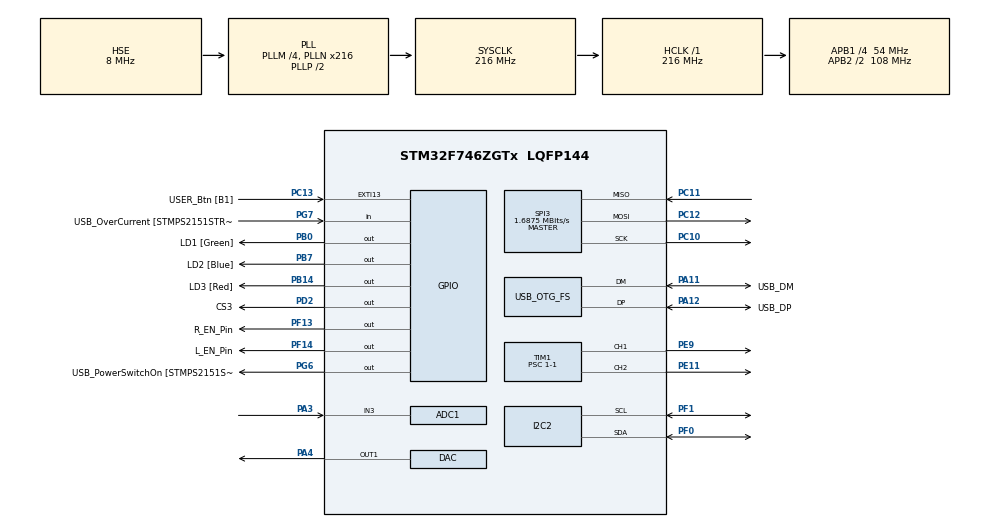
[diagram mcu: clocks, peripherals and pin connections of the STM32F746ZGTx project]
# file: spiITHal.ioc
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ADC1.Channel-0\#ChannelRegularConversion=ADC_CHANNEL_3
ADC1.ContinuousConvMode=ENABLE
ADC1.DMAContinuousRequests=ENABLE
ADC1.NbrOfConversionFlag=1
ADC1.Rank-0\#ChannelRegularConversion=1
ADC1.SamplingTime-0\#ChannelRegularConversion=ADC_SAMPLETIME_3CYCLES
ADC1.master=1
Dma.ADC1.0.Direction=DMA_PERIPH_TO_MEMORY
Dma.ADC1.0.FIFOMode=DMA_FIFOMODE_DISABLE
Dma.ADC1.0.Instance=DMA2_Stream0
Dma.ADC1.0.MemDataAlignment=DMA_MDATAALIGN_HALFWORD
Dma.ADC1.0.MemInc=DMA_MINC_ENABLE
Dma.ADC1.0.Mode=DMA_NORMAL
Dma.ADC1.0.PeriphDataAlignment=DMA_PDATAALIGN_HALFWORD
Dma.ADC1.0.PeriphInc=DMA_PINC_DISABLE
Dma.ADC1.0.Priority=DMA_PRIORITY_LOW
Dma.Request0=ADC1
Dma.Request1=SPI3_RX
Dma.Request2=SPI3_TX
Dma.SPI3_RX.1.Direction=DMA_PERIPH_TO_MEMORY
Dma.SPI3_RX.1.FIFOMode=DMA_FIFOMODE_DISABLE
Dma.SPI3_RX.1.Instance=DMA1_Stream0
Dma.SPI3_RX.1.MemDataAlignment=DMA_MDATAALIGN_HALFWORD
Dma.SPI3_RX.1.MemInc=DMA_MINC_ENABLE
Dma.SPI3_RX.1.Mode=DMA_NORMAL
Dma.SPI3_RX.1.PeriphDataAlignment=DMA_PDATAALIGN_HALFWORD
Dma.SPI3_RX.1.PeriphInc=DMA_PINC_DISABLE
Dma.SPI3_RX.1.Priority=DMA_PRIORITY_LOW
Dma.SPI3_TX.2.Direction=DMA_MEMORY_TO_PERIPH
Dma.SPI3_TX.2.FIFOMode=DMA_FIFOMODE_DISABLE
Dma.SPI3_TX.2.Instance=DMA1_Stream5
Dma.SPI3_TX.2.MemDataAlignment=DMA_MDATAALIGN_HALFWORD
Dma.SPI3_TX.2.MemInc=DMA_MINC_ENABLE
Dma.SPI3_TX.2.Mode=DMA_NORMAL
Dma.SPI3_TX.2.PeriphDataAlignment=DMA_PDATAALIGN_HALFWORD
Dma.SPI3_TX.2.PeriphInc=DMA_PINC_DISABLE
Dma.SPI3_TX.2.Priority=DMA_PRIORITY_LOW
I2C2.Timing=0x20404768
Mcu.Family=STM32F7
Mcu.Name=STM32F746ZGTx
Mcu.Package=LQFP144
NVIC.DMA1_Stream0_IRQn=true\:0\:0\:false\:false\:true\:false\:true\:true
NVIC.DMA1_Stream5_IRQn=true\:0\:0\:false\:false\:true\:false\:true\:true
NVIC.DMA2_Stream0_IRQn=true\:0\:0\:false\:false\:true\:false\:true\:true
NVIC.I2C2_EV_IRQn=true\:15\:0\:true\:false\:true\:true\:true\:true
NVIC.OTG_FS_IRQn=true\:0\:0\:false\:false\:true\:false\:true\:true
NVIC.PriorityGroup=NVIC_PRIORITYGROUP_4
NVIC.TIM3_IRQn=true\:3\:0\:true\:false\:true\:true\:true\:true
NVIC.TIM4_IRQn=true\:0\:0\:false\:false\:true\:true\:true\:true
PA1.GPIO_Label=RMII_REF_CLK [LAN8742A-CZ-TR_REFCLK0]
PA1.Signal=ETH_REF_CLK
PA10.GPIO_Label=USB_ID
PA10.Signal=USB_OTG_FS_ID
PA11.GPIO_Label=USB_DM
PA11.Mode=Device_Only
PA11.Signal=USB_OTG_FS_DM
PA12.GPIO_Label=USB_DP
PA12.Mode=Device_Only
PA12.Signal=USB_OTG_FS_DP
PA13.GPIO_Label=TMS
PA13.Mode=Serial_Wire
PA13.Signal=SYS_JTMS-SWDIO
PA14.GPIO_Label=TCK
PA14.Mode=Serial_Wire
PA14.Signal=SYS_JTCK-SWCLK
PA2.GPIO_Label=RMII_MDIO [LAN8742A-CZ-TR_MDIO]
PA2.Signal=ETH_MDIO
PA3.Signal=ADCx_IN3
PA4.Signal=COMP_DAC1_group
PA7.GPIO_Label=RMII_CRS_DV [LAN8742A-CZ-TR_CRS_DV]
PA7.Signal=ETH_CRS_DV
PA8.GPIO_Label=USB_SOF [TP1]
PA8.Signal=USB_OTG_FS_SOF
PA9.GPIO_Label=USB_VBUS
PA9.Signal=USB_OTG_FS_VBUS
PB0.GPIO_Label=LD1 [Green]
PB0.Signal=GPIO_Output
PB13.GPIO_Label=RMII_TXD1 [LAN8742A-CZ-TR_TXD1]
PB13.Signal=ETH_TXD1
PB14.GPIO_Label=LD3 [Red]
PB14.Signal=GPIO_Output
PB3.GPIO_Label=SW0
PB3.Signal=SYS_JTDO-SWO
PB7.GPIO_Label=LD2 [Blue]
PB7.Signal=GPIO_Output
PB8.Signal=I2C1_SCL
PC1.GPIO_Label=RMII_MDC [LAN8742A-CZ-TR_MDC]
PC1.Signal=ETH_MDC
PC10.Mode=Full_Duplex_Master
PC10.Signal=SPI3_SCK
PC11.Mode=Full_Duplex_Master
PC11.Signal=SPI3_MISO
PC12.Mode=Full_Duplex_Master
PC12.Signal=SPI3_MOSI
PC13.GPIO_Label=USER_Btn [B1]
PC13.Signal=GPXTI13
PC14/OSC32_IN.Mode=LSE-External-Oscillator
PC14/OSC32_IN.Signal=RCC_OSC32_IN
PC15/OSC32_OUT.Mode=LSE-External-Oscillator
PC15/OSC32_OUT.Signal=RCC_OSC32_OUT
PC4.GPIO_Label=RMII_RXD0 [LAN8742A-CZ-TR_RXD0]
PC4.Signal=ETH_RXD0
PC5.GPIO_Label=RMII_RXD1 [LAN8742A-CZ-TR_RXD1]
PC5.Signal=ETH_RXD1
PD2.GPIO_Label=CS3
PD2.Signal=GPIO_Output
PD8.GPIO_Label=STLK_RX [STM32F103CBT6_PA3]
PD8.GPIO_PuPd=GPIO_PULLUP
PD8.Signal=USART3_TX
PD9.GPIO_Label=STLK_TX [STM32F103CBT6_PA2]
PD9.GPIO_PuPd=GPIO_PULLUP
PD9.Signal=USART3_RX
PE11.Signal=S_TIM1_CH2
PE9.Signal=S_TIM1_CH1
PF0.Mode=I2C
PF0.Signal=I2C2_SDA
PF1.Mode=I2C
PF1.Signal=I2C2_SCL
PF13.GPIO_Label=R_EN_Pin
PF13.Signal=GPIO_Output
PF14.GPIO_Label=L_EN_Pin
PF14.Signal=GPIO_Output
PG11.GPIO_Label=RMII_TX_EN [LAN8742A-CZ-TR_TXEN]
PG11.Signal=ETH_TX_EN
PG13.GPIO_Label=RMII_TXD0 [LAN8742A-CZ-TR_TXD0]
PG13.Signal=ETH_TXD0
PG6.GPIO_Label=USB_PowerSwitchOn [STMPS2151STR_EN]
PG6.Signal=GPIO_Output
PG7.GPIO_Label=USB_OverCurrent [STMPS2151STR_FAULT]
PG7.Signal=GPIO_Input
PH0/OSC_IN.GPIO_Label=MCO [STM32F103CBT6_PA8]
PH0/OSC_IN.Mode=HSE-External-Oscillator
PH0/OSC_IN.Signal=RCC_OSC_IN
PH1/OSC_OUT.Mode=HSE-External-Oscillator
PH1/OSC_OUT.Signal=RCC_OSC_OUT
ProjectManager.HeapSize=0x200
ProjectManager.StackSize=0x400
ProjectManager.TargetToolchain=STM32CubeIDE
RCC.48MHZClocksFreq_Value=24000000
RCC.AHBFreq_Value=216000000
RCC.APB1CLKDivider=RCC_HCLK_DIV4
RCC.APB1Freq_Value=54000000
RCC.APB1TimFreq_Value=108000000
RCC.APB2CLKDivider=RCC_HCLK_DIV2
RCC.APB2Freq_Value=108000000
RCC.APB2TimFreq_Value=216000000
RCC.CortexFreq_Value=216000000
RCC.HCLKFreq_Value=216000000
RCC.HSE_VALUE=8000000
RCC.HSI_VALUE=16000000
RCC.PLLM=4
RCC.PLLMUL=RCC_PLL_MUL9
RCC.PLLN=216
RCC.PLLQ=9
RCC.PRESCALERUSB=RCC_USBCLKSOURCE_PLL_DIV1_5
RCC.SYSCLKFreq_VALUE=216000000
RCC.SYSCLKSource=RCC_SYSCLKSOURCE_PLLCLK
RCC.SYSCLKSourceVirtual=RCC_SYSCLKSOURCE_PLLCLK
RCC.USBFreq_Value=48000000
RCC.VCOOutputFreq_Value=432000000
SH.ADCx_IN3.0=ADC1_IN3,IN3
SH.COMP_DAC1_group.0=DAC_OUT1,DAC_OUT1
SH.S_TIM1_CH1.0=TIM1_CH1,PWM Generation1 CH1
SH.S_TIM1_CH2.0=TIM1_CH2,PWM Generation2 CH2
SPI3.BaudRatePrescaler=SPI_BAUDRATEPRESCALER_32
SPI3.CLKPhase=SPI_PHASE_2EDGE
SPI3.CalculateBaudRate=1.6875 MBits/s
SPI3.DataSize=SPI_DATASIZE_16BIT
SPI3.Direction=SPI_DIRECTION_2LINES
SPI3.Mode=SPI_MODE_MASTER
SPI3.VirtualType=VM_MASTER
TIM1.Channel-PWM\ Generation1\ CH1=TIM_CHANNEL_1
TIM1.Channel-PWM\ Generation2\ CH2=TIM_CHANNEL_2
TIM1.Period=8640-1
TIM1.Prescaler=1-1
TIM3.AutoReloadPreload=TIM_AUTORELOAD_PRELOAD_ENABLE
TIM3.Period=1000
TIM3.Prescaler=108-1
TIM4.AutoReloadPreload=TIM_AUTORELOAD_PRELOAD_ENABLE
TIM4.Channel-Output\ Compare1\ No\ Output=TIM_CHANNEL_1
TIM4.Prescaler=20-1
USB_DEVICE.CLASS_NAME_FS=CDC
USB_DEVICE.VirtualMode-CDC_FS=Cdc
USB_DEVICE.VirtualModeFS=Cdc_FS
USB_OTG_FS.VirtualMode=Device_Only
VP_TIM1_VS_ClockSourceINT.Mode=Internal
VP_TIM3_VS_ClockSourceINT.Mode=Internal
VP_TIM4_VS_ClockSourceINT.Mode=Internal
VP_TIM4_VS_no_output1.Mode=Output Compare1 No Output
VP_USB_DEVICE_VS_USB_DEVICE_CDC_FS.Mode=CDC_FS
board=NUCLEO-F746ZG

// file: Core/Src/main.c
/* USER CODE BEGIN Header */
/**
  ******************************************************************************
  * @file           : main.c
  * @brief          : Main program body
  ******************************************************************************
  * @attention
  *
  * Copyright (c) 2023 STMicroelectronics.
  * All rights reserved.
  *
  * This software is licensed under terms that can be found in the LICENSE file
  * in the root directory of this software component.
  * If no LICENSE file comes with this software, it is provided AS-IS.
  *
  ******************************************************************************
  */
/* USER CODE END Header */
#include "main.h"
#include "usb_device.h"

/* USER CODE BEGIN Includes */
#include "usbd_cdc_if.h"
/* USER CODE END Includes */

/* USER CODE BEGIN PM */
#define INA219_ADDRESS 0x40
#define INA219_I2C &hi2c2 //current measurement sensor
#define AS5047D_SPI &hspi3 //magnetic encoder
#define BTS7960_PWMTIM &htim1
#define USB_1KHZTIM &htim3
#define USB_TX_ITEM_CNT 3
#define USB_TX_DATA_CNT 4*USB_TX_ITEM_CNT+2
#define USB_RX_ITEM_CNT 1//Daha sonra usbd_cdc_if kismina atilabilir
#define USB_RX_DATA_CNT 4*USB_RX_ITEM_CNT+2
#define IIR_Filter_Alpha 0.9881f // iirFilter
#define filterTimer &htim4
/* USER CODE END PM */

ADC_HandleTypeDef hadc1;
DMA_HandleTypeDef hdma_adc1;

DAC_HandleTypeDef hdac;

I2C_HandleTypeDef hi2c2;

SPI_HandleTypeDef hspi3;
DMA_HandleTypeDef hdma_spi3_rx;
DMA_HandleTypeDef hdma_spi3_tx;

TIM_HandleTypeDef htim1;
TIM_HandleTypeDef htim3;
TIM_HandleTypeDef htim4;

/* USER CODE BEGIN PV */
//USB//////////////////////////////////////////////////////////////7
extern uint8_t USB_RX_Buf[4*USB_RX_ITEM_CNT + 2];
uint8_t USB_TX_Buf[4*USB_TX_ITEM_CNT+2];

typedef union{
	float fltnum;
	uint8_t fbyte[4];
}NUMUNION_t;

NUMUNION_t desiredV;
/////////////////////////////////////////////////////////////////////
//iirFilter
typedef struct
{
	float alpha;

	float out;

	float in;

} FirstOrderIIR;

FirstOrderIIR hpassfilt;
NUMUNION_t speedViaFilter;
//////////////////////////

//SPI//////////////////////////////////////////////////////////
uint16_t tDataSpi = 0xFFFF;
uint16_t rDataSpi;
uint16_t rDataFiltered;
uint16_t encPosBitPrev;
int32_t motorLoopCount = 0;

NUMUNION_t posRad;
//////////////////////////////////////////////////////////////
//MOTOR////////////////////////////////////////////////
uint16_t motor_pwm1 = 0;
uint16_t motor_pwm2 = 0;
//////////////////////////////////////////////////////
//I2C////////////////////////////////////////
NUMUNION_t I;

uint8_t iic_r[2];
uint8_t Current[2];
uint16_t iic_value;
uint16_t currentValue;
uint8_t isI2Con;
double Vbus = 12.0;// Ileride devre uzerinden olculecek.// nami diger bara voltaji//
uint8_t INA219_CONFIG[2] = {0x19,0x9f};
uint8_t INA219_CALIB[2] = {0x10,0x62};
////////////////////////////////////////////

//uint32_t adcValue;
//uint32_t dacValue;

/* USER CODE END PV */

void SystemClock_Config(void);
static void MX_GPIO_Init(void);
static void MX_DMA_Init(void);
static void MX_TIM3_Init(void);
static void MX_ADC1_Init(void);
static void MX_TIM1_Init(void);
static void MX_SPI3_Init(void);
static void MX_DAC_Init(void);
static void MX_I2C2_Init(void);
static void MX_TIM4_Init(void);
/* USER CODE BEGIN PFP */
void FirstOrderIIR_Init(FirstOrderIIR *filt, float alpha);//iirFilter
float FirstOrderIIR_Update(FirstOrderIIR *filt, float in);
void motor_control(float voltage);//motor
float bit14ToRad(uint16_t bit14);//spi
float bit14ToDeg(uint16_t bit14);
void USER_USB_TRANSMIT_2ITEM(uint8_t* TX_Buf, uint8_t* ITEM1, uint8_t* ITEM2);//usb
void USER_USB_TRANSMIT_3ITEM(uint8_t* TX_Buf, uint8_t* ITEM1, uint8_t* ITEM2, uint8_t* ITEM3);
void USER_USB_RECEIVE_1ITEM(uint8_t* RX_Buf, uint8_t* ITEM1);
void USER_CURRENTSensI2C_SETUP();
/* USER CODE END PFP */

int main(void)
{
  /* USER CODE BEGIN 1 */
	HAL_GPIO_WritePin(CS3_GPIO_Port, CS3_Pin, SET);
  /* USER CODE END 1 */

  /* MCU Configuration--------------------------------------------------------*/

  /* Reset of all peripherals, Initializes the Flash interface and the Systick. */
  HAL_Init();

  /* Configure the system clock */
  SystemClock_Config();

  /* Initialize all configured peripherals */
  MX_GPIO_Init();
  MX_DMA_Init();
  MX_USB_DEVICE_Init();
  MX_TIM3_Init();
  MX_ADC1_Init();
  MX_TIM1_Init();
  MX_SPI3_Init();
  MX_DAC_Init();
  MX_I2C2_Init();
  MX_TIM4_Init();
  /* USER CODE BEGIN 2 */
  HAL_GPIO_WritePin(CS3_GPIO_Port, CS3_Pin, RESET);
//  HAL_SPI_TransmitReceive_IT(&hspi3, (uint8_t*)&tDataSpi, (uint8_t*)&rDataSpi, 1);
  HAL_SPI_TransmitReceive_DMA(AS5047D_SPI, (uint8_t*)&tDataSpi, (uint8_t*)&rDataSpi, 1);

  HAL_GPIO_WritePin(R_EN_Pin_GPIO_Port, R_EN_Pin_Pin, SET);//MOTOR SURUCU ENA Pinleri
  HAL_GPIO_WritePin(L_EN_Pin_GPIO_Port, L_EN_Pin_Pin, SET);

  HAL_TIM_PWM_Start(BTS7960_PWMTIM, TIM_CHANNEL_1);
  HAL_TIM_PWM_Start(BTS7960_PWMTIM, TIM_CHANNEL_2);

  HAL_TIM_Base_Start_IT(USB_1KHZTIM);
//  HAL_DAC_Start(&hdac, DAC_CHANNEL_1);

//  isI2Con = HAL_I2C_IsDeviceReady(&hi2c2, INA219_ADDRESS << 1, 10, 50);
  HAL_I2C_Mem_Write(INA219_I2C, (INA219_ADDRESS << 1), 0x00, 1, INA219_CONFIG, 2, 1000);
  HAL_I2C_Mem_Write(INA219_I2C, (INA219_ADDRESS << 1), 0x05, 1, INA219_CALIB, 2, 1000);
//  HAL_I2C_Mem_Read_DMA(&hi2c2, INA219_ADDRESS << 1, 0x04, 1, Current, 2);
  HAL_I2C_Mem_Read_IT(INA219_I2C, INA219_ADDRESS << 1, 0x04, 1, Current, 2);

  FirstOrderIIR_Init(&hpassfilt, IIR_Filter_Alpha);
  HAL_TIM_Base_Start_IT(filterTimer);
  /* USER CODE END 2 */

  /* Infinite loop */
  /* USER CODE BEGIN WHILE */
  while (1)
  {

//	  HAL_I2C_Mem_Read(&hi2c2, (INA219_ADDRESS<<1), 0x04, 1, iic_r, 2, 1000);

//	  HAL_I2C_Master_Receive(&hi2c2, INA219_ADDRESS << 1, (uint8_t*)&iic_r, 1, 100);

	  //HAL_ADC_Start_DMA(&hadc1, &adcValue, 1);// 	Bu akim okuma su an kullanilmiyor ama neden olmasın

    /* USER CODE END WHILE */

  }
}

void SystemClock_Config(void)
{
  RCC_OscInitTypeDef RCC_OscInitStruct = {0};
  RCC_ClkInitTypeDef RCC_ClkInitStruct = {0};

  /** Configure LSE Drive Capability
  */
  HAL_PWR_EnableBkUpAccess();

  /** Configure the main internal regulator output voltage
  */
  __HAL_RCC_PWR_CLK_ENABLE();
  __HAL_PWR_VOLTAGESCALING_CONFIG(PWR_REGULATOR_VOLTAGE_SCALE1);

  /** Initializes the RCC Oscillators according to the specified parameters
  * in the RCC_OscInitTypeDef structure.
  */
  RCC_OscInitStruct.OscillatorType = RCC_OSCILLATORTYPE_HSE;
  RCC_OscInitStruct.HSEState = RCC_HSE_ON;
  RCC_OscInitStruct.PLL.PLLState = RCC_PLL_ON;
  RCC_OscInitStruct.PLL.PLLSource = RCC_PLLSOURCE_HSE;
  RCC_OscInitStruct.PLL.PLLM = 4;
  RCC_OscInitStruct.PLL.PLLN = 216;
  RCC_OscInitStruct.PLL.PLLP = RCC_PLLP_DIV2;
  RCC_OscInitStruct.PLL.PLLQ = 9;
  if (HAL_RCC_OscConfig(&RCC_OscInitStruct) != HAL_OK)
  {
    Error_Handler();
  }

  /** Activate the Over-Drive mode
  */
  if (HAL_PWREx_EnableOverDrive() != HAL_OK)
  {
    Error_Handler();
  }

  /** Initializes the CPU, AHB and APB buses clocks
  */
  RCC_ClkInitStruct.ClockType = RCC_CLOCKTYPE_HCLK|RCC_CLOCKTYPE_SYSCLK
                              |RCC_CLOCKTYPE_PCLK1|RCC_CLOCKTYPE_PCLK2;
  RCC_ClkInitStruct.SYSCLKSource = RCC_SYSCLKSOURCE_PLLCLK;
  RCC_ClkInitStruct.AHBCLKDivider = RCC_SYSCLK_DIV1;
  RCC_ClkInitStruct.APB1CLKDivider = RCC_HCLK_DIV4;
  RCC_ClkInitStruct.APB2CLKDivider = RCC_HCLK_DIV2;

  if (HAL_RCC_ClockConfig(&RCC_ClkInitStruct, FLASH_LATENCY_7) != HAL_OK)
  {
    Error_Handler();
  }
}

static void MX_ADC1_Init(void)
{

  ADC_ChannelConfTypeDef sConfig = {0};

  /** Configure the global features of the ADC (Clock, Resolution, Data Alignment and number of conversion)
  */
  hadc1.Instance = ADC1;
  hadc1.Init.ClockPrescaler = ADC_CLOCK_SYNC_PCLK_DIV4;
  hadc1.Init.Resolution = ADC_RESOLUTION_12B;
  hadc1.Init.ScanConvMode = ADC_SCAN_DISABLE;
  hadc1.Init.ContinuousConvMode = ENABLE;
  hadc1.Init.DiscontinuousConvMode = DISABLE;
  hadc1.Init.ExternalTrigConvEdge = ADC_EXTERNALTRIGCONVEDGE_NONE;
  hadc1.Init.ExternalTrigConv = ADC_SOFTWARE_START;
  hadc1.Init.DataAlign = ADC_DATAALIGN_RIGHT;
  hadc1.Init.NbrOfConversion = 1;
  hadc1.Init.DMAContinuousRequests = ENABLE;
  hadc1.Init.EOCSelection = ADC_EOC_SINGLE_CONV;
  if (HAL_ADC_Init(&hadc1) != HAL_OK)
  {
    Error_Handler();
  }

  /** Configure for the selected ADC regular channel its corresponding rank in the sequencer and its sample time.
  */
  sConfig.Channel = ADC_CHANNEL_3;
  sConfig.Rank = ADC_REGULAR_RANK_1;
  sConfig.SamplingTime = ADC_SAMPLETIME_3CYCLES;
  if (HAL_ADC_ConfigChannel(&hadc1, &sConfig) != HAL_OK)
  {
    Error_Handler();
  }

}

static void MX_DAC_Init(void)
{

  DAC_ChannelConfTypeDef sConfig = {0};

  /** DAC Initialization
  */
  hdac.Instance = DAC;
  if (HAL_DAC_Init(&hdac) != HAL_OK)
  {
    Error_Handler();
  }

  /** DAC channel OUT1 config
  */
  sConfig.DAC_Trigger = DAC_TRIGGER_NONE;
  sConfig.DAC_OutputBuffer = DAC_OUTPUTBUFFER_ENABLE;
  if (HAL_DAC_ConfigChannel(&hdac, &sConfig, DAC_CHANNEL_1) != HAL_OK)
  {
    Error_Handler();
  }

}

static void MX_I2C2_Init(void)
{

  hi2c2.Instance = I2C2;
  hi2c2.Init.Timing = 0x20404768;
  hi2c2.Init.OwnAddress1 = 0;
  hi2c2.Init.AddressingMode = I2C_ADDRESSINGMODE_7BIT;
  hi2c2.Init.DualAddressMode = I2C_DUALADDRESS_DISABLE;
  hi2c2.Init.OwnAddress2 = 0;
  hi2c2.Init.OwnAddress2Masks = I2C_OA2_NOMASK;
  hi2c2.Init.GeneralCallMode = I2C_GENERALCALL_DISABLE;
  hi2c2.Init.NoStretchMode = I2C_NOSTRETCH_DISABLE;
  if (HAL_I2C_Init(&hi2c2) != HAL_OK)
  {
    Error_Handler();
  }

  /** Configure Analogue filter
  */
  if (HAL_I2CEx_ConfigAnalogFilter(&hi2c2, I2C_ANALOGFILTER_ENABLE) != HAL_OK)
  {
    Error_Handler();
  }

  /** Configure Digital filter
  */
  if (HAL_I2CEx_ConfigDigitalFilter(&hi2c2, 0) != HAL_OK)
  {
    Error_Handler();
  }

}

static void MX_SPI3_Init(void)
{

  /* SPI3 parameter configuration*/
  hspi3.Instance = SPI3;
  hspi3.Init.Mode = SPI_MODE_MASTER;
  hspi3.Init.Direction = SPI_DIRECTION_2LINES;
  hspi3.Init.DataSize = SPI_DATASIZE_16BIT;
  hspi3.Init.CLKPolarity = SPI_POLARITY_LOW;
  hspi3.Init.CLKPhase = SPI_PHASE_2EDGE;
  hspi3.Init.NSS = SPI_NSS_SOFT;
  hspi3.Init.BaudRatePrescaler = SPI_BAUDRATEPRESCALER_32;
  hspi3.Init.FirstBit = SPI_FIRSTBIT_MSB;
  hspi3.Init.TIMode = SPI_TIMODE_DISABLE;
  hspi3.Init.CRCCalculation = SPI_CRCCALCULATION_DISABLE;
  hspi3.Init.CRCPolynomial = 7;
  hspi3.Init.CRCLength = SPI_CRC_LENGTH_DATASIZE;
  hspi3.Init.NSSPMode = SPI_NSS_PULSE_DISABLE;
  if (HAL_SPI_Init(&hspi3) != HAL_OK)
  {
    Error_Handler();
  }

}

static void MX_TIM1_Init(void)
{

  TIM_ClockConfigTypeDef sClockSourceConfig = {0};
  TIM_MasterConfigTypeDef sMasterConfig = {0};
  TIM_OC_InitTypeDef sConfigOC = {0};
  TIM_BreakDeadTimeConfigTypeDef sBreakDeadTimeConfig = {0};

  htim1.Instance = TIM1;
  htim1.Init.Prescaler = 1-1;
  htim1.Init.CounterMode = TIM_COUNTERMODE_UP;
  htim1.Init.Period = 8640-1;
  htim1.Init.ClockDivision = TIM_CLOCKDIVISION_DIV1;
  htim1.Init.RepetitionCounter = 0;
  htim1.Init.AutoReloadPreload = TIM_AUTORELOAD_PRELOAD_DISABLE;
  if (HAL_TIM_Base_Init(&htim1) != HAL_OK)
  {
    Error_Handler();
  }
  sClockSourceConfig.ClockSource = TIM_CLOCKSOURCE_INTERNAL;
  if (HAL_TIM_ConfigClockSource(&htim1, &sClockSourceConfig) != HAL_OK)
  {
    Error_Handler();
  }
  if (HAL_TIM_PWM_Init(&htim1) != HAL_OK)
  {
    Error_Handler();
  }
  sMasterConfig.MasterOutputTrigger = TIM_TRGO_RESET;
  sMasterConfig.MasterOutputTrigger2 = TIM_TRGO2_RESET;
  sMasterConfig.MasterSlaveMode = TIM_MASTERSLAVEMODE_DISABLE;
  if (HAL_TIMEx_MasterConfigSynchronization(&htim1, &sMasterConfig) != HAL_OK)
  {
    Error_Handler();
  }
  sConfigOC.OCMode = TIM_OCMODE_PWM1;
  sConfigOC.Pulse = 0;
  sConfigOC.OCPolarity = TIM_OCPOLARITY_HIGH;
  sConfigOC.OCNPolarity = TIM_OCNPOLARITY_HIGH;
  sConfigOC.OCFastMode = TIM_OCFAST_DISABLE;
  sConfigOC.OCIdleState = TIM_OCIDLESTATE_RESET;
  sConfigOC.OCNIdleState = TIM_OCNIDLESTATE_RESET;
  if (HAL_TIM_PWM_ConfigChannel(&htim1, &sConfigOC, TIM_CHANNEL_1) != HAL_OK)
  {
    Error_Handler();
  }
  if (HAL_TIM_PWM_ConfigChannel(&htim1, &sConfigOC, TIM_CHANNEL_2) != HAL_OK)
  {
    Error_Handler();
  }
  sBreakDeadTimeConfig.OffStateRunMode = TIM_OSSR_DISABLE;
  sBreakDeadTimeConfig.OffStateIDLEMode = TIM_OSSI_DISABLE;
  sBreakDeadTimeConfig.LockLevel = TIM_LOCKLEVEL_OFF;
  sBreakDeadTimeConfig.DeadTime = 0;
  sBreakDeadTimeConfig.BreakState = TIM_BREAK_DISABLE;
  sBreakDeadTimeConfig.BreakPolarity = TIM_BREAKPOLARITY_HIGH;
  sBreakDeadTimeConfig.BreakFilter = 0;
  sBreakDeadTimeConfig.Break2State = TIM_BREAK2_DISABLE;
  sBreakDeadTimeConfig.Break2Polarity = TIM_BREAK2POLARITY_HIGH;
  sBreakDeadTimeConfig.Break2Filter = 0;
  sBreakDeadTimeConfig.AutomaticOutput = TIM_AUTOMATICOUTPUT_DISABLE;
  if (HAL_TIMEx_ConfigBreakDeadTime(&htim1, &sBreakDeadTimeConfig) != HAL_OK)
  {
    Error_Handler();
  }
  HAL_TIM_MspPostInit(&htim1);

}

static void MX_TIM3_Init(void)
{

  TIM_ClockConfigTypeDef sClockSourceConfig = {0};
  TIM_MasterConfigTypeDef sMasterConfig = {0};

  htim3.Instance = TIM3;
  htim3.Init.Prescaler = 108-1;
  htim3.Init.CounterMode = TIM_COUNTERMODE_UP;
  htim3.Init.Period = 1000;
  htim3.Init.ClockDivision = TIM_CLOCKDIVISION_DIV1;
  htim3.Init.AutoReloadPreload = TIM_AUTORELOAD_PRELOAD_ENABLE;
  if (HAL_TIM_Base_Init(&htim3) != HAL_OK)
  {
    Error_Handler();
  }
  sClockSourceConfig.ClockSource = TIM_CLOCKSOURCE_INTERNAL;
  if (HAL_TIM_ConfigClockSource(&htim3, &sClockSourceConfig) != HAL_OK)
  {
    Error_Handler();
  }
  sMasterConfig.MasterOutputTrigger = TIM_TRGO_RESET;
  sMasterConfig.MasterSlaveMode = TIM_MASTERSLAVEMODE_DISABLE;
  if (HAL_TIMEx_MasterConfigSynchronization(&htim3, &sMasterConfig) != HAL_OK)
  {
    Error_Handler();
  }

}

static void MX_TIM4_Init(void)
{

  TIM_ClockConfigTypeDef sClockSourceConfig = {0};
  TIM_MasterConfigTypeDef sMasterConfig = {0};
  TIM_OC_InitTypeDef sConfigOC = {0};

  htim4.Instance = TIM4;
  htim4.Init.Prescaler = 20-1;
  htim4.Init.CounterMode = TIM_COUNTERMODE_UP;
  htim4.Init.Period = 65535;
  htim4.Init.ClockDivision = TIM_CLOCKDIVISION_DIV1;
  htim4.Init.AutoReloadPreload = TIM_AUTORELOAD_PRELOAD_ENABLE;
  if (HAL_TIM_Base_Init(&htim4) != HAL_OK)
  {
    Error_Handler();
  }
  sClockSourceConfig.ClockSource = TIM_CLOCKSOURCE_INTERNAL;
  if (HAL_TIM_ConfigClockSource(&htim4, &sClockSourceConfig) != HAL_OK)
  {
    Error_Handler();
  }
  if (HAL_TIM_OC_Init(&htim4) != HAL_OK)
  {
    Error_Handler();
  }
  sMasterConfig.MasterOutputTrigger = TIM_TRGO_RESET;
  sMasterConfig.MasterSlaveMode = TIM_MASTERSLAVEMODE_DISABLE;
  if (HAL_TIMEx_MasterConfigSynchronization(&htim4, &sMasterConfig) != HAL_OK)
  {
    Error_Handler();
  }
  sConfigOC.OCMode = TIM_OCMODE_TIMING;
  sConfigOC.Pulse = 0;
  sConfigOC.OCPolarity = TIM_OCPOLARITY_HIGH;
  sConfigOC.OCFastMode = TIM_OCFAST_DISABLE;
  if (HAL_TIM_OC_ConfigChannel(&htim4, &sConfigOC, TIM_CHANNEL_1) != HAL_OK)
  {
    Error_Handler();
  }

}

static void MX_DMA_Init(void)
{

  /* DMA controller clock enable */
  __HAL_RCC_DMA2_CLK_ENABLE();
  __HAL_RCC_DMA1_CLK_ENABLE();

  /* DMA interrupt init */
  /* DMA1_Stream0_IRQn interrupt configuration */
  HAL_NVIC_SetPriority(DMA1_Stream0_IRQn, 0, 0);
  HAL_NVIC_EnableIRQ(DMA1_Stream0_IRQn);
  /* DMA1_Stream5_IRQn interrupt configuration */
  HAL_NVIC_SetPriority(DMA1_Stream5_IRQn, 0, 0);
  HAL_NVIC_EnableIRQ(DMA1_Stream5_IRQn);
  /* DMA2_Stream0_IRQn interrupt configuration */
  HAL_NVIC_SetPriority(DMA2_Stream0_IRQn, 0, 0);
  HAL_NVIC_EnableIRQ(DMA2_Stream0_IRQn);

}

static void MX_GPIO_Init(void)
{
  GPIO_InitTypeDef GPIO_InitStruct = {0};

  /* GPIO Ports Clock Enable */
  __HAL_RCC_GPIOC_CLK_ENABLE();
  __HAL_RCC_GPIOF_CLK_ENABLE();
  __HAL_RCC_GPIOH_CLK_ENABLE();
  __HAL_RCC_GPIOA_CLK_ENABLE();
  __HAL_RCC_GPIOB_CLK_ENABLE();
  __HAL_RCC_GPIOE_CLK_ENABLE();
  __HAL_RCC_GPIOD_CLK_ENABLE();
  __HAL_RCC_GPIOG_CLK_ENABLE();

  /*Configure GPIO pin Output Level */
  HAL_GPIO_WritePin(GPIOB, LD1_Pin|LD3_Pin|LD2_Pin, GPIO_PIN_RESET);

  /*Configure GPIO pin Output Level */
  HAL_GPIO_WritePin(GPIOF, R_EN_Pin_Pin|L_EN_Pin_Pin, GPIO_PIN_RESET);

  /*Configure GPIO pin Output Level */
  HAL_GPIO_WritePin(USB_PowerSwitchOn_GPIO_Port, USB_PowerSwitchOn_Pin, GPIO_PIN_RESET);

  /*Configure GPIO pin Output Level */
  HAL_GPIO_WritePin(CS3_GPIO_Port, CS3_Pin, GPIO_PIN_RESET);

  /*Configure GPIO pin : USER_Btn_Pin */
  GPIO_InitStruct.Pin = USER_Btn_Pin;
  GPIO_InitStruct.Mode = GPIO_MODE_IT_RISING;
  GPIO_InitStruct.Pull = GPIO_NOPULL;
  HAL_GPIO_Init(USER_Btn_GPIO_Port, &GPIO_InitStruct);

  /*Configure GPIO pins : RMII_MDC_Pin RMII_RXD0_Pin RMII_RXD1_Pin */
  GPIO_InitStruct.Pin = RMII_MDC_Pin|RMII_RXD0_Pin|RMII_RXD1_Pin;
  GPIO_InitStruct.Mode = GPIO_MODE_AF_PP;
  GPIO_InitStruct.Pull = GPIO_NOPULL;
  GPIO_InitStruct.Speed = GPIO_SPEED_FREQ_VERY_HIGH;
  GPIO_InitStruct.Alternate = GPIO_AF11_ETH;
  HAL_GPIO_Init(GPIOC, &GPIO_InitStruct);

  /*Configure GPIO pins : RMII_REF_CLK_Pin RMII_MDIO_Pin RMII_CRS_DV_Pin */
  GPIO_InitStruct.Pin = RMII_REF_CLK_Pin|RMII_MDIO_Pin|RMII_CRS_DV_Pin;
  GPIO_InitStruct.Mode = GPIO_MODE_AF_PP;
  GPIO_InitStruct.Pull = GPIO_NOPULL;
  GPIO_InitStruct.Speed = GPIO_SPEED_FREQ_VERY_HIGH;
  GPIO_InitStruct.Alternate = GPIO_AF11_ETH;
  HAL_GPIO_Init(GPIOA, &GPIO_InitStruct);

  /*Configure GPIO pins : LD1_Pin LD3_Pin LD2_Pin */
  GPIO_InitStruct.Pin = LD1_Pin|LD3_Pin|LD2_Pin;
  GPIO_InitStruct.Mode = GPIO_MODE_OUTPUT_PP;
  GPIO_InitStruct.Pull = GPIO_NOPULL;
  GPIO_InitStruct.Speed = GPIO_SPEED_FREQ_LOW;
  HAL_GPIO_Init(GPIOB, &GPIO_InitStruct);

  /*Configure GPIO pins : R_EN_Pin_Pin L_EN_Pin_Pin */
  GPIO_InitStruct.Pin = R_EN_Pin_Pin|L_EN_Pin_Pin;
  GPIO_InitStruct.Mode = GPIO_MODE_OUTPUT_PP;
  GPIO_InitStruct.Pull = GPIO_NOPULL;
  GPIO_InitStruct.Speed = GPIO_SPEED_FREQ_LOW;
  HAL_GPIO_Init(GPIOF, &GPIO_InitStruct);

  /*Configure GPIO pin : RMII_TXD1_Pin */
  GPIO_InitStruct.Pin = RMII_TXD1_Pin;
  GPIO_InitStruct.Mode = GPIO_MODE_AF_PP;
  GPIO_InitStruct.Pull = GPIO_NOPULL;
  GPIO_InitStruct.Speed = GPIO_SPEED_FREQ_VERY_HIGH;
  GPIO_InitStruct.Alternate = GPIO_AF11_ETH;
  HAL_GPIO_Init(RMII_TXD1_GPIO_Port, &GPIO_InitStruct);

  /*Configure GPIO pins : STLK_RX_Pin STLK_TX_Pin */
  GPIO_InitStruct.Pin = STLK_RX_Pin|STLK_TX_Pin;
  GPIO_InitStruct.Mode = GPIO_MODE_AF_PP;
  GPIO_InitStruct.Pull = GPIO_PULLUP;
  GPIO_InitStruct.Speed = GPIO_SPEED_FREQ_VERY_HIGH;
  GPIO_InitStruct.Alternate = GPIO_AF7_USART3;
  HAL_GPIO_Init(GPIOD, &GPIO_InitStruct);

  /*Configure GPIO pin : USB_PowerSwitchOn_Pin */
  GPIO_InitStruct.Pin = USB_PowerSwitchOn_Pin;
  GPIO_InitStruct.Mode = GPIO_MODE_OUTPUT_PP;
  GPIO_InitStruct.Pull = GPIO_NOPULL;
  GPIO_InitStruct.Speed = GPIO_SPEED_FREQ_LOW;
  HAL_GPIO_Init(USB_PowerSwitchOn_GPIO_Port, &GPIO_InitStruct);

  /*Configure GPIO pin : USB_OverCurrent_Pin */
  GPIO_InitStruct.Pin = USB_OverCurrent_Pin;
  GPIO_InitStruct.Mode = GPIO_MODE_INPUT;
  GPIO_InitStruct.Pull = GPIO_NOPULL;
  HAL_GPIO_Init(USB_OverCurrent_GPIO_Port, &GPIO_InitStruct);

  /*Configure GPIO pin : CS3_Pin */
  GPIO_InitStruct.Pin = CS3_Pin;
  GPIO_InitStruct.Mode = GPIO_MODE_OUTPUT_PP;
  GPIO_InitStruct.Pull = GPIO_NOPULL;
  GPIO_InitStruct.Speed = GPIO_SPEED_FREQ_LOW;
  HAL_GPIO_Init(CS3_GPIO_Port, &GPIO_InitStruct);

  /*Configure GPIO pins : RMII_TX_EN_Pin RMII_TXD0_Pin */
  GPIO_InitStruct.Pin = RMII_TX_EN_Pin|RMII_TXD0_Pin;
  GPIO_InitStruct.Mode = GPIO_MODE_AF_PP;
  GPIO_InitStruct.Pull = GPIO_NOPULL;
  GPIO_InitStruct.Speed = GPIO_SPEED_FREQ_VERY_HIGH;
  GPIO_InitStruct.Alternate = GPIO_AF11_ETH;
  HAL_GPIO_Init(GPIOG, &GPIO_InitStruct);

  /*Configure GPIO pin : PB8 */
  GPIO_InitStruct.Pin = GPIO_PIN_8;
  GPIO_InitStruct.Mode = GPIO_MODE_AF_OD;
  GPIO_InitStruct.Pull = GPIO_NOPULL;
  GPIO_InitStruct.Speed = GPIO_SPEED_FREQ_VERY_HIGH;
  GPIO_InitStruct.Alternate = GPIO_AF4_I2C1;
  HAL_GPIO_Init(GPIOB, &GPIO_InitStruct);

}

/* USER CODE BEGIN 4 */

void motor_control(float voltage)
{
	if(voltage>0)
	{
		motor_pwm1 = 0;
		motor_pwm2 = (((double)voltage*8640.0)/Vbus);
	}
	else if(voltage<0)
	{
		motor_pwm2 = 0;
		motor_pwm1 = (((double)voltage*(-8640))/Vbus);
	}
	else
	{
		motor_pwm1 = 0;
		motor_pwm2 = 0;
	}
	__HAL_TIM_SET_COMPARE(BTS7960_PWMTIM,TIM_CHANNEL_1,motor_pwm1);
	__HAL_TIM_SET_COMPARE(BTS7960_PWMTIM,TIM_CHANNEL_2,motor_pwm2);
}

float bit14ToRad(uint16_t bit14)
{
	return (((float)bit14)*2*3.14159)/(16383.0);
}
float bit14ToDeg(uint16_t bit14)
{
	return (((float)bit14)*360.0)/(16383.0);
}
void HAL_SPI_TxRxCpltCallback(SPI_HandleTypeDef *hspi)
{
	HAL_GPIO_WritePin(CS3_GPIO_Port, CS3_Pin, SET);
	rDataFiltered = rDataSpi & 0x3FFF;
	tDataSpi = 0xFFFF;
	if(encPosBitPrev - rDataFiltered > 300)
	{
		motorLoopCount++;
	}
	else if(rDataFiltered - encPosBitPrev > 300)
	{
		motorLoopCount--;
	}
	encPosBitPrev = rDataFiltered;
	HAL_GPIO_WritePin(CS3_GPIO_Port, CS3_Pin, RESET);
	HAL_SPI_TransmitReceive_DMA(AS5047D_SPI, (uint8_t*)&tDataSpi, (uint8_t*)&rDataSpi, 1);
}

void HAL_I2C_MemRxCpltCallback(I2C_HandleTypeDef *hi2c)
{
	currentValue = (Current[0]<<8)|Current[1];
	I.fltnum = (float)currentValue;
	USER_CURRENTSensI2C_SETUP();
	HAL_I2C_Mem_Read_IT(INA219_I2C, INA219_ADDRESS << 1, 0x04, 1, Current, 2);
}

void HAL_TIM_PeriodElapsedCallback(TIM_HandleTypeDef *htim)
{
	if(htim == USB_1KHZTIM)
	{
//		posRad.fltnum = (((float)rDataFiltered)*2*3.14159)/(16383.0);
		posRad.fltnum = 2.0*3.14*((float)motorLoopCount) + bit14ToRad(rDataFiltered);
//		posRad.fltnum = bit14ToDeg(rDataFiltered);
//		USER_USB_TRANSMIT_2ITEM(USB_TX_Buf, posRad.fbyte, I.fbyte);
		USER_USB_TRANSMIT_3ITEM(USB_TX_Buf, posRad.fbyte, I.fbyte, speedViaFilter.fbyte);
//		USB_TX_Buf[0] = '#';
//		USB_TX_Buf[1] = posRad.fbyte[0];
//		USB_TX_Buf[2] = posRad.fbyte[1];
//		USB_TX_Buf[3] = posRad.fbyte[2];
//		USB_TX_Buf[4] = posRad.fbyte[3];
//		USB_TX_Buf[5] = I.fbyte[0];
//		USB_TX_Buf[6] = I.fbyte[1];
//		USB_TX_Buf[7] = I.fbyte[2];
//		USB_TX_Buf[8] = I.fbyte[3];
//		USB_TX_Buf[9] = '\n';

//		CDC_Transmit_FS(USB_TX_Buf, 10);

//		desiredV.fbyte[0] = USB_RX_Buf[1];
//		desiredV.fbyte[1] = USB_RX_Buf[2];
//		desiredV.fbyte[2] = USB_RX_Buf[3];
//		desiredV.fbyte[3] = USB_RX_Buf[4];

		USER_USB_RECEIVE_1ITEM(USB_RX_Buf, desiredV.fbyte);
		motor_control(desiredV.fltnum);
	}
	if(htim == filterTimer)
	{
		speedViaFilter.fltnum = FirstOrderIIR_Update(&hpassfilt, posRad.fltnum);
	}
}

void USER_USB_TRANSMIT_2ITEM(uint8_t* TX_Buf, uint8_t* ITEM1, uint8_t* ITEM2)
{
	TX_Buf[0] = '#';
	TX_Buf[1] = ITEM1[0];
	TX_Buf[2] = ITEM1[1];
	TX_Buf[3] = ITEM1[2];
	TX_Buf[4] = ITEM1[3];
	TX_Buf[5] = ITEM2[0];
	TX_Buf[6] = ITEM2[1];
	TX_Buf[7] = ITEM2[2];
	TX_Buf[8] = ITEM2[3];
	TX_Buf[USB_TX_DATA_CNT - 1] = '\n';

	CDC_Transmit_FS(TX_Buf, USB_TX_DATA_CNT);
}

void USER_USB_TRANSMIT_3ITEM(uint8_t* TX_Buf, uint8_t* ITEM1, uint8_t* ITEM2, uint8_t* ITEM3)
{
	TX_Buf[0] = '#';
	TX_Buf[1] = ITEM1[0];
	TX_Buf[2] = ITEM1[1];
	TX_Buf[3] = ITEM1[2];
	TX_Buf[4] = ITEM1[3];
	TX_Buf[5] = ITEM2[0];
	TX_Buf[6] = ITEM2[1];
	TX_Buf[7] = ITEM2[2];
	TX_Buf[8] = ITEM2[3];
	TX_Buf[9] = ITEM3[0];
	TX_Buf[10] = ITEM3[1];
	TX_Buf[11] = ITEM3[2];
	TX_Buf[12] = ITEM3[3];
	TX_Buf[USB_TX_DATA_CNT-1] = '\n';

	CDC_Transmit_FS(TX_Buf, USB_TX_DATA_CNT);
}

void USER_USB_RECEIVE_1ITEM(uint8_t* RX_Buf, uint8_t* ITEM1)
{
	if(RX_Buf[0] == '#' && RX_Buf[USB_RX_DATA_CNT-1] == '\n')
	{
		ITEM1[0] = RX_Buf[1];
		ITEM1[1] = RX_Buf[2];
		ITEM1[2] = RX_Buf[3];
		ITEM1[3] = RX_Buf[4];
	}
	else
	{
		ITEM1[0] = '!';
		ITEM1[1] = '!';
		ITEM1[2] = '!';
		ITEM1[3] = '!';
	}
}

void USER_CURRENTSensI2C_SETUP(void)
{
	HAL_I2C_Mem_Write(INA219_I2C, (INA219_ADDRESS<<1), 0x00, 1, INA219_CONFIG, 2, 1000);
	HAL_I2C_Mem_Write(INA219_I2C, (INA219_ADDRESS<<1), 0x05, 1, INA219_CALIB, 2, 1000);
}

void FirstOrderIIR_Init(FirstOrderIIR *filt, float alpha)
{
	if(alpha < 0.0f)
		filt->alpha = 0.0f;
	else if(alpha > 1.0f)
		filt->alpha = 1.0f;
	else
		filt->alpha = alpha;

	filt->out = 0.0f;
	filt->in = 0.0f;
}

float FirstOrderIIR_Update(FirstOrderIIR *filt, float in)
{
	filt->out = ((1.0f + filt->alpha)/2.0)*(in - filt->in) + filt->alpha * filt->out;
	filt->in = in;
	return filt->out;
}
//void HAL_ADC_ConvCpltCallback(ADC_HandleTypeDef* hadc)0
//{
//	if(hadc == &hadc1)
//	{
////		adcValue = HAL_ADC_GetValue(&hadc1);
//		dacValue = adcValue ;
//		HAL_DAC_SetValue(&hdac, DAC_CHANNEL_1, DAC_ALIGN_12B_R, dacValue);
////		I.fltnum = (((((float)adcValue)*(3.3/4095.0)) - 1.65)/(0.185));
//	}
//}

/* USER CODE END 4 */

void Error_Handler(void)
{
  __disable_irq();
  while (1)
  {
  }
}
